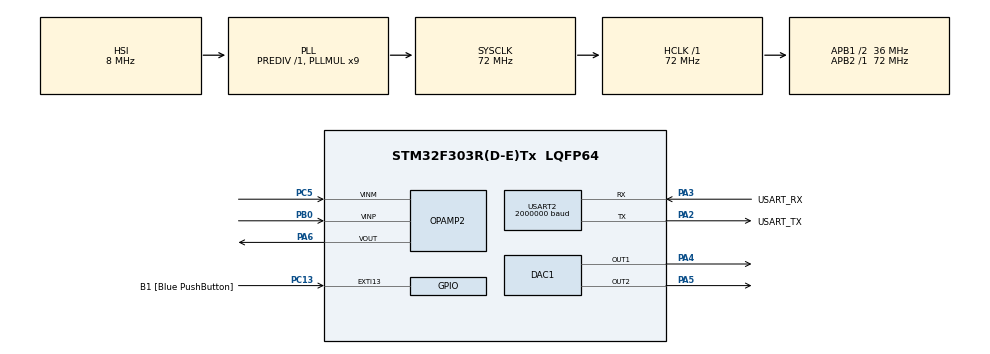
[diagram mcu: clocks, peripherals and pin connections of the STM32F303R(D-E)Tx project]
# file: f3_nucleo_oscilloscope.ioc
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ADC2.AWD1HighThreshold=1000
ADC2.AWD1ITMode=ENABLE
ADC2.AWD1LowThreshold=0
ADC2.AWD2HighThreshold=4095
ADC2.AWD2ITMode=ENABLE
ADC2.AWD2LowThreshold=900
ADC2.Channel-26\#ChannelRegularConversion=ADC_CHANNEL_3
ADC2.ClockPrescaler=ADC_CLOCK_ASYNC_DIV1
ADC2.ContinuousConvMode=DISABLE
ADC2.DMAContinuousRequests=ENABLE
ADC2.DataAlign=ADC_DATAALIGN_RIGHT
ADC2.DiscontinuousConvMode=DISABLE
ADC2.EOCSelection=ADC_EOC_SINGLE_CONV
ADC2.EnableAnalogWatchDog1=true
ADC2.EnableAnalogWatchDog2=true
ADC2.EnableAnalogWatchDog3=false
ADC2.EnableInjectedConversion=DISABLE
ADC2.EnableRegularConversion=ENABLE
ADC2.ExternalTrigConv=ADC_EXTERNALTRIGCONV_T1_TRGO
ADC2.ExternalTrigConvEdge=ADC_EXTERNALTRIGCONVEDGE_RISING
ADC2.LowPowerAutoWait=DISABLE
ADC2.MonitoredBy-26\#ChannelRegularConversion=__NULL
ADC2.NbrOfConversion=1
ADC2.NbrOfConversionFlag=1
ADC2.Offset-26\#ChannelRegularConversion=0
ADC2.OffsetNumber-26\#ChannelRegularConversion=ADC_OFFSET_NONE
ADC2.Overrun=ADC_OVR_DATA_OVERWRITTEN
ADC2.Rank-26\#ChannelRegularConversion=1
ADC2.Resolution=ADC_RESOLUTION_12B
ADC2.SamplingTime-26\#ChannelRegularConversion=ADC_SAMPLETIME_1CYCLE_5
ADC2.ScanConvMode=ADC_SCAN_DISABLE
ADC2.WatchdogChannel=ADC_CHANNEL_3
ADC2.WatchdogMode=ADC_ANALOGWATCHDOG_SINGLE_REG
DAC1.DAC_OutputBuffer=DAC_OUTPUTBUFFER_ENABLE
DAC1.DAC_OutputBuffer2=DAC_OUTPUTBUFFER_DISABLE
DAC1.DAC_Trigger=DAC_TRIGGER_NONE
DAC1.DAC_Trigger2=DAC_TRIGGER_T7_TRGO
DAC1.TriangleAmplitude2=DAC_TRIANGLEAMPLITUDE_255
DAC1.WaveGeneration2=TriangleWaveGeneration
Dma.ADC2.4.Direction=DMA_PERIPH_TO_MEMORY
Dma.ADC2.4.Instance=DMA2_Channel1
Dma.ADC2.4.MemDataAlignment=DMA_MDATAALIGN_HALFWORD
Dma.ADC2.4.MemInc=DMA_MINC_ENABLE
Dma.ADC2.4.Mode=DMA_CIRCULAR
Dma.ADC2.4.PeriphDataAlignment=DMA_PDATAALIGN_HALFWORD
Dma.ADC2.4.PeriphInc=DMA_PINC_DISABLE
Dma.ADC2.4.Priority=DMA_PRIORITY_LOW
Dma.DAC1_CH1.3.Direction=DMA_MEMORY_TO_PERIPH
Dma.DAC1_CH1.3.Instance=DMA1_Channel3
Dma.DAC1_CH1.3.MemDataAlignment=DMA_MDATAALIGN_HALFWORD
Dma.DAC1_CH1.3.MemInc=DMA_MINC_ENABLE
Dma.DAC1_CH1.3.Mode=DMA_CIRCULAR
Dma.DAC1_CH1.3.PeriphDataAlignment=DMA_PDATAALIGN_HALFWORD
Dma.DAC1_CH1.3.PeriphInc=DMA_PINC_DISABLE
Dma.DAC1_CH1.3.Priority=DMA_PRIORITY_LOW
Dma.MEMTOMEM.0.Direction=DMA_MEMORY_TO_MEMORY
Dma.MEMTOMEM.0.Instance=DMA1_Channel1
Dma.MEMTOMEM.0.MemDataAlignment=DMA_MDATAALIGN_HALFWORD
Dma.MEMTOMEM.0.MemInc=DMA_MINC_ENABLE
Dma.MEMTOMEM.0.Mode=DMA_NORMAL
Dma.MEMTOMEM.0.PeriphDataAlignment=DMA_PDATAALIGN_HALFWORD
Dma.MEMTOMEM.0.PeriphInc=DMA_PINC_ENABLE
Dma.MEMTOMEM.0.Priority=DMA_PRIORITY_LOW
Dma.MEMTOMEM.1.Direction=DMA_MEMORY_TO_MEMORY
Dma.MEMTOMEM.1.Instance=DMA1_Channel2
Dma.MEMTOMEM.1.MemDataAlignment=DMA_MDATAALIGN_WORD
Dma.MEMTOMEM.1.MemInc=DMA_MINC_ENABLE
Dma.MEMTOMEM.1.Mode=DMA_NORMAL
Dma.MEMTOMEM.1.PeriphDataAlignment=DMA_PDATAALIGN_WORD
Dma.MEMTOMEM.1.PeriphInc=DMA_PINC_ENABLE
Dma.MEMTOMEM.1.Priority=DMA_PRIORITY_LOW
Dma.Request0=MEMTOMEM
Dma.Request1=MEMTOMEM
Dma.Request2=USART2_TX
Dma.Request3=DAC1_CH1
Dma.Request4=ADC2
Dma.USART2_TX.2.Direction=DMA_MEMORY_TO_PERIPH
Dma.USART2_TX.2.Instance=DMA1_Channel7
Dma.USART2_TX.2.MemDataAlignment=DMA_MDATAALIGN_BYTE
Dma.USART2_TX.2.MemInc=DMA_MINC_ENABLE
Dma.USART2_TX.2.Mode=DMA_NORMAL
Dma.USART2_TX.2.PeriphDataAlignment=DMA_PDATAALIGN_BYTE
Dma.USART2_TX.2.PeriphInc=DMA_PINC_DISABLE
Dma.USART2_TX.2.Priority=DMA_PRIORITY_LOW
Mcu.Family=STM32F3
Mcu.Name=STM32F303R(D-E)Tx
Mcu.Package=LQFP64
NVIC.ADC1_2_IRQn=true\:0\:0\:false\:false\:false
NVIC.DMA1_Channel3_IRQn=true\:0\:0\:false\:false\:true
NVIC.DMA1_Channel7_IRQn=true\:0\:0\:false\:false\:true
NVIC.DMA2_Channel1_IRQn=true\:0\:0\:false\:false\:true
NVIC.PriorityGroup=NVIC_PRIORITYGROUP_0
NVIC.TIM2_IRQn=true\:0\:0\:false\:false\:false
NVIC.TIM7_IRQn=true\:0\:0\:false\:false\:true
NVIC.USART2_IRQn=true\:0\:0\:false\:false\:true
OPAMP2.PgaGain=OPAMP_PGA_GAIN_16
PA13.GPIO_Label=TMS
PA13.Mode=Trace_Asynchronous_SW
PA13.Signal=SYS_JTMS-SWDIO
PA14.GPIO_Label=TCK
PA14.Mode=Trace_Asynchronous_SW
PA14.Signal=SYS_JTCK-SWCLK
PA2.GPIO_Label=USART_TX
PA2.GPIO_Mode=GPIO_MODE_AF_PP
PA2.GPIO_PuPd=GPIO_NOPULL
PA2.GPIO_Speed=GPIO_SPEED_FREQ_LOW
PA2.Mode=Asynchronous
PA2.Signal=USART2_TX
PA3.GPIO_Label=USART_RX
PA3.GPIO_Mode=GPIO_MODE_AF_PP
PA3.GPIO_PuPd=GPIO_NOPULL
PA3.GPIO_Speed=GPIO_SPEED_FREQ_LOW
PA3.Mode=Asynchronous
PA3.Signal=USART2_RX
PA4.Signal=COMP_DAC11_group
PA5.Signal=COMP_DAC12_group
PA6.Signal=SharedAnalog_PA6
PB0.Mode=PGA Connected
PB0.Signal=OPAMP2_VINP
PB3.GPIO_Label=SWO
PB3.Mode=Trace_Asynchronous_SW
PB3.Signal=SYS_JTDO-TRACESWO
PC13.GPIO_Label=B1 [Blue PushButton]
PC13.GPIO_ModeDefaultEXTI=GPIO_MODE_IT_FALLING
PC13.Signal=GPXTI13
PC5.Mode=PGA Connected
PC5.Signal=OPAMP2_VINM
PF0-OSC_IN.Mode=HSE-External-Clock-Source
PF0-OSC_IN.Signal=RCC_OSC_IN
ProjectManager.HeapSize=0x200
ProjectManager.StackSize=0x400
ProjectManager.TargetToolchain=SW4STM32
RCC.AHBFreq_Value=72000000
RCC.APB1CLKDivider=RCC_HCLK_DIV2
RCC.APB1Freq_Value=36000000
RCC.APB1TimFreq_Value=72000000
RCC.APB2Freq_Value=72000000
RCC.APB2TimFreq_Value=72000000
RCC.CortexFreq_Value=72000000
RCC.HCLKFreq_Value=72000000
RCC.HSE_VALUE=8000000
RCC.HSI_VALUE=8000000
RCC.LSE_VALUE=32768
RCC.PLLM=8
RCC.PLLMUL=RCC_PLL_MUL9
RCC.PLLN=336
RCC.PLLP=RCC_PLLP_DIV4
RCC.PLLQ=7
RCC.RCC_PLLsource_Clock_Source_FROM_HSE=RCC_HSE_PREDIV_DIV2
RCC.SYSCLKFreq_VALUE=72000000
RCC.SYSCLKSourceVirtual=RCC_SYSCLKSOURCE_PLLCLK
RCC.USBFreq_Value=72000000
SH.COMP_DAC11_group.0=DAC1_OUT1,DAC_OUT1
SH.COMP_DAC12_group.0=DAC1_OUT2,Enable_DAC_OUT2
SH.SharedAnalog_PA6.0=ADC2_IN3
SH.SharedAnalog_PA6.1=OPAMP2_VOUT,PGA Connected
TIM1.Period=15
TIM1.TIM_MasterOutputTrigger=TIM_TRGO_UPDATE
TIM1.TIM_MasterSlaveMode=TIM_MASTERSLAVEMODE_ENABLE
TIM2.Period=1199
TIM2.Prescaler=0
TIM2.TIM_MasterOutputTrigger=TIM_TRGO_UPDATE
TIM2.TIM_MasterSlaveMode=TIM_MASTERSLAVEMODE_DISABLE
TIM7.Period=79
TIM7.TIM_MasterOutputTrigger=TIM_TRGO_UPDATE
USART2.BaudRate=2000000
USART2.VirtualMode-Asynchronous=VM_ASYNC
USART2.WordLength=WORDLENGTH_8B
VP_ADC2_OPAMP_INTERNAL2.Mode=IN-OPAMP2
VP_ADC2_OPAMP_OUT2.Mode=IN-OPAMP2-Single-Ended
VP_TIM1_VS_ClockSourceINT.Mode=Internal
VP_TIM2_VS_ClockSourceITR.Mode=TriggerSource_ITR0
VP_TIM2_VS_ControllerModeClock.Mode=Clock Mode
VP_TIM7_VS_ClockSourceINT.Mode=Enable_Timer
board=NUCLEO-F303RE

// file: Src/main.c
/**
  ******************************************************************************
  * File Name          : main.c
  * Description        : Main program body
  ******************************************************************************
  ** This notice applies to any and all portions of this file
  * that are not between comment pairs USER CODE BEGIN and
  * USER CODE END. Other portions of this file, whether
  * inserted by the user or by software development tools
  * are owned by their respective copyright owners.
  *
  * COPYRIGHT(c) 2017 STMicroelectronics
  *
  * Redistribution and use in source and binary forms, with or without modification,
  * are permitted provided that the following conditions are met:
  *   1. Redistributions of source code must retain the above copyright notice,
  *      this list of conditions and the following disclaimer.
  *   2. Redistributions in binary form must reproduce the above copyright notice,
  *      this list of conditions and the following disclaimer in the documentation
  *      and/or other materials provided with the distribution.
  *   3. Neither the name of STMicroelectronics nor the names of its contributors
  *      may be used to endorse or promote products derived from this software
  *      without specific prior written permission.
  *
  * THIS SOFTWARE IS PROVIDED BY THE COPYRIGHT HOLDERS AND CONTRIBUTORS "AS IS"
  * AND ANY EXPRESS OR IMPLIED WARRANTIES, INCLUDING, BUT NOT LIMITED TO, THE
  * IMPLIED WARRANTIES OF MERCHANTABILITY AND FITNESS FOR A PARTICULAR PURPOSE ARE
  * DISCLAIMED. IN NO EVENT SHALL THE COPYRIGHT HOLDER OR CONTRIBUTORS BE LIABLE
  * FOR ANY DIRECT, INDIRECT, INCIDENTAL, SPECIAL, EXEMPLARY, OR CONSEQUENTIAL
  * DAMAGES (INCLUDING, BUT NOT LIMITED TO, PROCUREMENT OF SUBSTITUTE GOODS OR
  * SERVICES; LOSS OF USE, DATA, OR PROFITS; OR BUSINESS INTERRUPTION) HOWEVER
  * CAUSED AND ON ANY THEORY OF LIABILITY, WHETHER IN CONTRACT, STRICT LIABILITY,
  * OR TORT (INCLUDING NEGLIGENCE OR OTHERWISE) ARISING IN ANY WAY OUT OF THE USE
  * OF THIS SOFTWARE, EVEN IF ADVISED OF THE POSSIBILITY OF SUCH DAMAGE.
  *
  ******************************************************************************
  */
#include "main.h"
#include "stm32f3xx_hal.h"

ADC_HandleTypeDef hadc2;
DMA_HandleTypeDef hdma_adc2;

DAC_HandleTypeDef hdac1;
DMA_HandleTypeDef hdma_dac1_ch1;

OPAMP_HandleTypeDef hopamp2;

TIM_HandleTypeDef htim1;
TIM_HandleTypeDef htim2;
TIM_HandleTypeDef htim7;

UART_HandleTypeDef huart2;
DMA_HandleTypeDef hdma_usart2_tx;

DMA_HandleTypeDef hdma_memtomem_dma1_channel1;
DMA_HandleTypeDef hdma_memtomem_dma1_channel2;

/* USER CODE BEGIN PV */
/* Private variables ---------------------------------------------------------*/

/* USER CODE END PV */

void SystemClock_Config(void);
static void MX_GPIO_Init(void);
static void MX_DMA_Init(void);
static void MX_OPAMP2_Init(void);
static void MX_ADC2_Init(void);
static void MX_TIM1_Init(void);
static void MX_TIM2_Init(void);
static void MX_TIM7_Init(void);
static void MX_USART2_UART_Init(void);
static void MX_DAC1_Init(void);

/* USER CODE BEGIN PFP */
/* Private function prototypes -----------------------------------------------*/

/* USER CODE END PFP */

/* USER CODE BEGIN 0 */
int __unused _write(int __unused file, char *ptr, int len) {
  while(!__HAL_UART_GET_FLAG(&huart2,UART_FLAG_TXE));
  HAL_DMA_Start(huart2.hdmatx, (uint32_t) ptr, (uint32_t) &huart2.Instance->TDR, (uint32_t) len);
  __HAL_UART_CLEAR_FLAG(&huart2, UART_CLEAR_TCF);

  /* Enable the DMA transfer for transmit request by setting the DMAT bit
     in the UART CR3 register */
  SET_BIT(huart2.Instance->CR3, USART_CR3_DMAT);

  HAL_DMA_PollForTransfer(huart2.hdmatx,HAL_DMA_FULL_TRANSFER,20000);
  //HAL_UART_Transmit(&huart2, (uint8_t *) ptr, (uint16_t) len, 20000);
  return len;
}

/* USER CODE END 0 */

int main(void)
{

  /* MCU Configuration----------------------------------------------------------*/

  /* Reset of all peripherals, Initializes the Flash interface and the Systick. */
  HAL_Init();

  /* Configure the system clock */
  SystemClock_Config();

  /* Initialize all configured peripherals */
  MX_GPIO_Init();
  MX_DMA_Init();
  MX_OPAMP2_Init();
  MX_ADC2_Init();
  MX_TIM1_Init();
  MX_TIM2_Init();
  MX_TIM7_Init();
  MX_USART2_UART_Init();
  MX_DAC1_Init();

  /* USER CODE BEGIN 2 */
  chA.frame.status = EMPTY;
  chA.keyFrame.status = EMPTY;
  setupOscill();
  setupGenerator();
  HAL_OPAMP_Start(&hopamp2);
  /* USER CODE END 2 */

  /* Infinite loop */
  /* USER CODE BEGIN WHILE */
#pragma clang diagnostic push
#pragma clang diagnostic ignored "-Wmissing-noreturn"
  while (1)
  {
  /* USER CODE END WHILE */

  /* USER CODE BEGIN 3 */
    if (!transmitFrame(&chA.keyFrame, true)) {
//      transmitFrame(&chA.frame, false);
    }
//    __WFI();
  }
#pragma clang diagnostic pop
  /* USER CODE END 3 */

}

/** System Clock Configuration
*/
void SystemClock_Config(void)
{

  RCC_OscInitTypeDef RCC_OscInitStruct;
  RCC_ClkInitTypeDef RCC_ClkInitStruct;
  RCC_PeriphCLKInitTypeDef PeriphClkInit;

    /**Initializes the CPU, AHB and APB busses clocks
    */
  RCC_OscInitStruct.OscillatorType = RCC_OSCILLATORTYPE_HSI;
  RCC_OscInitStruct.HSIState = RCC_HSI_ON;
  RCC_OscInitStruct.HSICalibrationValue = 16;
  RCC_OscInitStruct.PLL.PLLState = RCC_PLL_ON;
  RCC_OscInitStruct.PLL.PLLSource = RCC_PLLSOURCE_HSI;
  RCC_OscInitStruct.PLL.PLLMUL = RCC_PLL_MUL9;
  RCC_OscInitStruct.PLL.PREDIV = RCC_PREDIV_DIV1;
  if (HAL_RCC_OscConfig(&RCC_OscInitStruct) != HAL_OK)
  {
    _Error_Handler(__FILE__, __LINE__);
  }

    /**Initializes the CPU, AHB and APB busses clocks
    */
  RCC_ClkInitStruct.ClockType = RCC_CLOCKTYPE_HCLK|RCC_CLOCKTYPE_SYSCLK
                              |RCC_CLOCKTYPE_PCLK1|RCC_CLOCKTYPE_PCLK2;
  RCC_ClkInitStruct.SYSCLKSource = RCC_SYSCLKSOURCE_PLLCLK;
  RCC_ClkInitStruct.AHBCLKDivider = RCC_SYSCLK_DIV1;
  RCC_ClkInitStruct.APB1CLKDivider = RCC_HCLK_DIV2;
  RCC_ClkInitStruct.APB2CLKDivider = RCC_HCLK_DIV1;

  if (HAL_RCC_ClockConfig(&RCC_ClkInitStruct, FLASH_LATENCY_2) != HAL_OK)
  {
    _Error_Handler(__FILE__, __LINE__);
  }

  PeriphClkInit.PeriphClockSelection = RCC_PERIPHCLK_USART2|RCC_PERIPHCLK_TIM1
                              |RCC_PERIPHCLK_ADC12|RCC_PERIPHCLK_TIM2;
  PeriphClkInit.Usart2ClockSelection = RCC_USART2CLKSOURCE_PCLK1;
  PeriphClkInit.Adc12ClockSelection = RCC_ADC12PLLCLK_DIV1;
  PeriphClkInit.Tim1ClockSelection = RCC_TIM1CLK_HCLK;
  PeriphClkInit.Tim2ClockSelection = RCC_TIM2CLK_HCLK;
  if (HAL_RCCEx_PeriphCLKConfig(&PeriphClkInit) != HAL_OK)
  {
    _Error_Handler(__FILE__, __LINE__);
  }

    /**Configure the Systick interrupt time
    */
  HAL_SYSTICK_Config(HAL_RCC_GetHCLKFreq()/1000);

    /**Configure the Systick
    */
  HAL_SYSTICK_CLKSourceConfig(SYSTICK_CLKSOURCE_HCLK);

  /* SysTick_IRQn interrupt configuration */
  HAL_NVIC_SetPriority(SysTick_IRQn, 0, 0);
}

/* ADC2 init function */
static void MX_ADC2_Init(void)
{

  ADC_AnalogWDGConfTypeDef AnalogWDGConfig;
  ADC_ChannelConfTypeDef sConfig;

    /**Common config
    */
  hadc2.Instance = ADC2;
  hadc2.Init.ClockPrescaler = ADC_CLOCK_ASYNC_DIV1;
  hadc2.Init.Resolution = ADC_RESOLUTION_12B;
  hadc2.Init.ScanConvMode = ADC_SCAN_DISABLE;
  hadc2.Init.ContinuousConvMode = DISABLE;
  hadc2.Init.DiscontinuousConvMode = DISABLE;
  hadc2.Init.ExternalTrigConvEdge = ADC_EXTERNALTRIGCONVEDGE_RISING;
  hadc2.Init.ExternalTrigConv = ADC_EXTERNALTRIGCONV_T1_TRGO;
  hadc2.Init.DataAlign = ADC_DATAALIGN_RIGHT;
  hadc2.Init.NbrOfConversion = 1;
  hadc2.Init.DMAContinuousRequests = ENABLE;
  hadc2.Init.EOCSelection = ADC_EOC_SINGLE_CONV;
  hadc2.Init.LowPowerAutoWait = DISABLE;
  hadc2.Init.Overrun = ADC_OVR_DATA_OVERWRITTEN;
  if (HAL_ADC_Init(&hadc2) != HAL_OK)
  {
    _Error_Handler(__FILE__, __LINE__);
  }

    /**Configure Analog WatchDog 1
    */
  AnalogWDGConfig.WatchdogNumber = ADC_ANALOGWATCHDOG_1;
  AnalogWDGConfig.WatchdogMode = ADC_ANALOGWATCHDOG_SINGLE_REG;
  AnalogWDGConfig.HighThreshold = 1000;
  AnalogWDGConfig.LowThreshold = 0;
  AnalogWDGConfig.Channel = ADC_CHANNEL_3;
  AnalogWDGConfig.ITMode = ENABLE;
  if (HAL_ADC_AnalogWDGConfig(&hadc2, &AnalogWDGConfig) != HAL_OK)
  {
    _Error_Handler(__FILE__, __LINE__);
  }

    /**Configure Regular Channel
    */
  sConfig.Channel = ADC_CHANNEL_3;
  sConfig.Rank = 1;
  sConfig.SingleDiff = ADC_SINGLE_ENDED;
  sConfig.SamplingTime = ADC_SAMPLETIME_1CYCLE_5;
  sConfig.OffsetNumber = ADC_OFFSET_NONE;
  sConfig.Offset = 0;
  if (HAL_ADC_ConfigChannel(&hadc2, &sConfig) != HAL_OK)
  {
    _Error_Handler(__FILE__, __LINE__);
  }

}

/* DAC1 init function */
static void MX_DAC1_Init(void)
{

  DAC_ChannelConfTypeDef sConfig;

    /**DAC Initialization
    */
  hdac1.Instance = DAC1;
  if (HAL_DAC_Init(&hdac1) != HAL_OK)
  {
    _Error_Handler(__FILE__, __LINE__);
  }

    /**DAC channel OUT1 config
    */
  sConfig.DAC_Trigger = DAC_TRIGGER_NONE;
  sConfig.DAC_OutputBuffer = DAC_OUTPUTBUFFER_ENABLE;
  if (HAL_DAC_ConfigChannel(&hdac1, &sConfig, DAC_CHANNEL_1) != HAL_OK)
  {
    _Error_Handler(__FILE__, __LINE__);
  }

    /**DAC channel OUT2 config
    */
  sConfig.DAC_Trigger = DAC_TRIGGER_T7_TRGO;
  sConfig.DAC_OutputBuffer = DAC_OUTPUTBUFFER_DISABLE;
  if (HAL_DAC_ConfigChannel(&hdac1, &sConfig, DAC_CHANNEL_2) != HAL_OK)
  {
    _Error_Handler(__FILE__, __LINE__);
  }

    /**Configure Triangle wave generation on DAC OUT2
    */
  if (HAL_DACEx_TriangleWaveGenerate(&hdac1, DAC_CHANNEL_2, DAC_TRIANGLEAMPLITUDE_255) != HAL_OK)
  {
    _Error_Handler(__FILE__, __LINE__);
  }

}

/* OPAMP2 init function */
static void MX_OPAMP2_Init(void)
{

  hopamp2.Instance = OPAMP2;
  hopamp2.Init.Mode = OPAMP_PGA_MODE;
  hopamp2.Init.NonInvertingInput = OPAMP_NONINVERTINGINPUT_IO2;
  hopamp2.Init.TimerControlledMuxmode = OPAMP_TIMERCONTROLLEDMUXMODE_DISABLE;
  hopamp2.Init.PgaConnect = OPAMP_PGA_CONNECT_INVERTINGINPUT_IO0;
  hopamp2.Init.PgaGain = OPAMP_PGA_GAIN_16;
  hopamp2.Init.UserTrimming = OPAMP_TRIMMING_FACTORY;
  if (HAL_OPAMP_Init(&hopamp2) != HAL_OK)
  {
    _Error_Handler(__FILE__, __LINE__);
  }

}

/* TIM1 init function */
static void MX_TIM1_Init(void)
{

  TIM_ClockConfigTypeDef sClockSourceConfig;
  TIM_MasterConfigTypeDef sMasterConfig;

  htim1.Instance = TIM1;
  htim1.Init.Prescaler = 0;
  htim1.Init.CounterMode = TIM_COUNTERMODE_UP;
  htim1.Init.Period = 15;
  htim1.Init.ClockDivision = TIM_CLOCKDIVISION_DIV1;
  htim1.Init.RepetitionCounter = 0;
  htim1.Init.AutoReloadPreload = TIM_AUTORELOAD_PRELOAD_DISABLE;
  if (HAL_TIM_Base_Init(&htim1) != HAL_OK)
  {
    _Error_Handler(__FILE__, __LINE__);
  }

  sClockSourceConfig.ClockSource = TIM_CLOCKSOURCE_INTERNAL;
  if (HAL_TIM_ConfigClockSource(&htim1, &sClockSourceConfig) != HAL_OK)
  {
    _Error_Handler(__FILE__, __LINE__);
  }

  sMasterConfig.MasterOutputTrigger = TIM_TRGO_UPDATE;
  sMasterConfig.MasterOutputTrigger2 = TIM_TRGO2_RESET;
  sMasterConfig.MasterSlaveMode = TIM_MASTERSLAVEMODE_ENABLE;
  if (HAL_TIMEx_MasterConfigSynchronization(&htim1, &sMasterConfig) != HAL_OK)
  {
    _Error_Handler(__FILE__, __LINE__);
  }

}

/* TIM2 init function */
static void MX_TIM2_Init(void)
{

  TIM_SlaveConfigTypeDef sSlaveConfig;
  TIM_MasterConfigTypeDef sMasterConfig;

  htim2.Instance = TIM2;
  htim2.Init.Prescaler = 0;
  htim2.Init.CounterMode = TIM_COUNTERMODE_UP;
  htim2.Init.Period = 1199;
  htim2.Init.ClockDivision = TIM_CLOCKDIVISION_DIV1;
  htim2.Init.AutoReloadPreload = TIM_AUTORELOAD_PRELOAD_DISABLE;
  if (HAL_TIM_Base_Init(&htim2) != HAL_OK)
  {
    _Error_Handler(__FILE__, __LINE__);
  }

  sSlaveConfig.SlaveMode = TIM_SLAVEMODE_EXTERNAL1;
  sSlaveConfig.InputTrigger = TIM_TS_ITR0;
  if (HAL_TIM_SlaveConfigSynchronization(&htim2, &sSlaveConfig) != HAL_OK)
  {
    _Error_Handler(__FILE__, __LINE__);
  }

  sMasterConfig.MasterOutputTrigger = TIM_TRGO_UPDATE;
  sMasterConfig.MasterSlaveMode = TIM_MASTERSLAVEMODE_DISABLE;
  if (HAL_TIMEx_MasterConfigSynchronization(&htim2, &sMasterConfig) != HAL_OK)
  {
    _Error_Handler(__FILE__, __LINE__);
  }

}

/* TIM7 init function */
static void MX_TIM7_Init(void)
{

  TIM_MasterConfigTypeDef sMasterConfig;

  htim7.Instance = TIM7;
  htim7.Init.Prescaler = 0;
  htim7.Init.CounterMode = TIM_COUNTERMODE_UP;
  htim7.Init.Period = 79;
  htim7.Init.AutoReloadPreload = TIM_AUTORELOAD_PRELOAD_DISABLE;
  if (HAL_TIM_Base_Init(&htim7) != HAL_OK)
  {
    _Error_Handler(__FILE__, __LINE__);
  }

  sMasterConfig.MasterOutputTrigger = TIM_TRGO_UPDATE;
  sMasterConfig.MasterSlaveMode = TIM_MASTERSLAVEMODE_DISABLE;
  if (HAL_TIMEx_MasterConfigSynchronization(&htim7, &sMasterConfig) != HAL_OK)
  {
    _Error_Handler(__FILE__, __LINE__);
  }

}

/* USART2 init function */
static void MX_USART2_UART_Init(void)
{

  huart2.Instance = USART2;
  huart2.Init.BaudRate = 2000000;
  huart2.Init.WordLength = UART_WORDLENGTH_8B;
  huart2.Init.StopBits = UART_STOPBITS_1;
  huart2.Init.Parity = UART_PARITY_NONE;
  huart2.Init.Mode = UART_MODE_TX_RX;
  huart2.Init.HwFlowCtl = UART_HWCONTROL_NONE;
  huart2.Init.OverSampling = UART_OVERSAMPLING_16;
  huart2.Init.OneBitSampling = UART_ONE_BIT_SAMPLE_DISABLE;
  huart2.AdvancedInit.AdvFeatureInit = UART_ADVFEATURE_NO_INIT;
  if (HAL_UART_Init(&huart2) != HAL_OK)
  {
    _Error_Handler(__FILE__, __LINE__);
  }

}

static void MX_DMA_Init(void)
{
  /* DMA controller clock enable */
  __HAL_RCC_DMA1_CLK_ENABLE();
  __HAL_RCC_DMA2_CLK_ENABLE();

  /* Configure DMA request hdma_memtomem_dma1_channel1 on DMA1_Channel1 */
  hdma_memtomem_dma1_channel1.Instance = DMA1_Channel1;
  hdma_memtomem_dma1_channel1.Init.Direction = DMA_MEMORY_TO_MEMORY;
  hdma_memtomem_dma1_channel1.Init.PeriphInc = DMA_PINC_ENABLE;
  hdma_memtomem_dma1_channel1.Init.MemInc = DMA_MINC_ENABLE;
  hdma_memtomem_dma1_channel1.Init.PeriphDataAlignment = DMA_PDATAALIGN_HALFWORD;
  hdma_memtomem_dma1_channel1.Init.MemDataAlignment = DMA_MDATAALIGN_HALFWORD;
  hdma_memtomem_dma1_channel1.Init.Mode = DMA_NORMAL;
  hdma_memtomem_dma1_channel1.Init.Priority = DMA_PRIORITY_LOW;
  if (HAL_DMA_Init(&hdma_memtomem_dma1_channel1) != HAL_OK)
  {
    _Error_Handler(__FILE__, __LINE__);
  }

  /* Configure DMA request hdma_memtomem_dma1_channel2 on DMA1_Channel2 */
  hdma_memtomem_dma1_channel2.Instance = DMA1_Channel2;
  hdma_memtomem_dma1_channel2.Init.Direction = DMA_MEMORY_TO_MEMORY;
  hdma_memtomem_dma1_channel2.Init.PeriphInc = DMA_PINC_ENABLE;
  hdma_memtomem_dma1_channel2.Init.MemInc = DMA_MINC_ENABLE;
  hdma_memtomem_dma1_channel2.Init.PeriphDataAlignment = DMA_PDATAALIGN_WORD;
  hdma_memtomem_dma1_channel2.Init.MemDataAlignment = DMA_MDATAALIGN_WORD;
  hdma_memtomem_dma1_channel2.Init.Mode = DMA_NORMAL;
  hdma_memtomem_dma1_channel2.Init.Priority = DMA_PRIORITY_LOW;
  if (HAL_DMA_Init(&hdma_memtomem_dma1_channel2) != HAL_OK)
  {
    _Error_Handler(__FILE__, __LINE__);
  }

  /* DMA interrupt init */
  /* DMA1_Channel3_IRQn interrupt configuration */
  HAL_NVIC_SetPriority(DMA1_Channel3_IRQn, 0, 0);
  HAL_NVIC_EnableIRQ(DMA1_Channel3_IRQn);
  /* DMA1_Channel7_IRQn interrupt configuration */
  HAL_NVIC_SetPriority(DMA1_Channel7_IRQn, 0, 0);
  HAL_NVIC_EnableIRQ(DMA1_Channel7_IRQn);
  /* DMA2_Channel1_IRQn interrupt configuration */
  HAL_NVIC_SetPriority(DMA2_Channel1_IRQn, 0, 0);
  HAL_NVIC_EnableIRQ(DMA2_Channel1_IRQn);

}

/** Configure pins as
        * Analog
        * Input
        * Output
        * EVENT_OUT
        * EXTI
*/
static void MX_GPIO_Init(void)
{

  GPIO_InitTypeDef GPIO_InitStruct;

  /* GPIO Ports Clock Enable */
  __HAL_RCC_GPIOC_CLK_ENABLE();
  __HAL_RCC_GPIOF_CLK_ENABLE();
  __HAL_RCC_GPIOA_CLK_ENABLE();
  __HAL_RCC_GPIOB_CLK_ENABLE();

  /*Configure GPIO pin : B1_Pin */
  GPIO_InitStruct.Pin = B1_Pin;
  GPIO_InitStruct.Mode = GPIO_MODE_IT_FALLING;
  GPIO_InitStruct.Pull = GPIO_NOPULL;
  HAL_GPIO_Init(B1_GPIO_Port, &GPIO_InitStruct);

}

/* USER CODE BEGIN 4 */
#pragma clang diagnostic push
#pragma clang diagnostic ignored "-Wunused-parameter"
#pragma clang diagnostic ignored "-Wmissing-noreturn"
/* USER CODE END 4 */

void _Error_Handler(char * file, int line)
{
  /* USER CODE BEGIN Error_Handler_Debug */
  /* User can add his own implementation to report the HAL error return state */
  while (1)
  {
  }
#pragma clang diagnostic pop
  /* USER CODE END Error_Handler_Debug */
}

/************************ (C) COPYRIGHT STMicroelectronics *****END OF FILE****/
